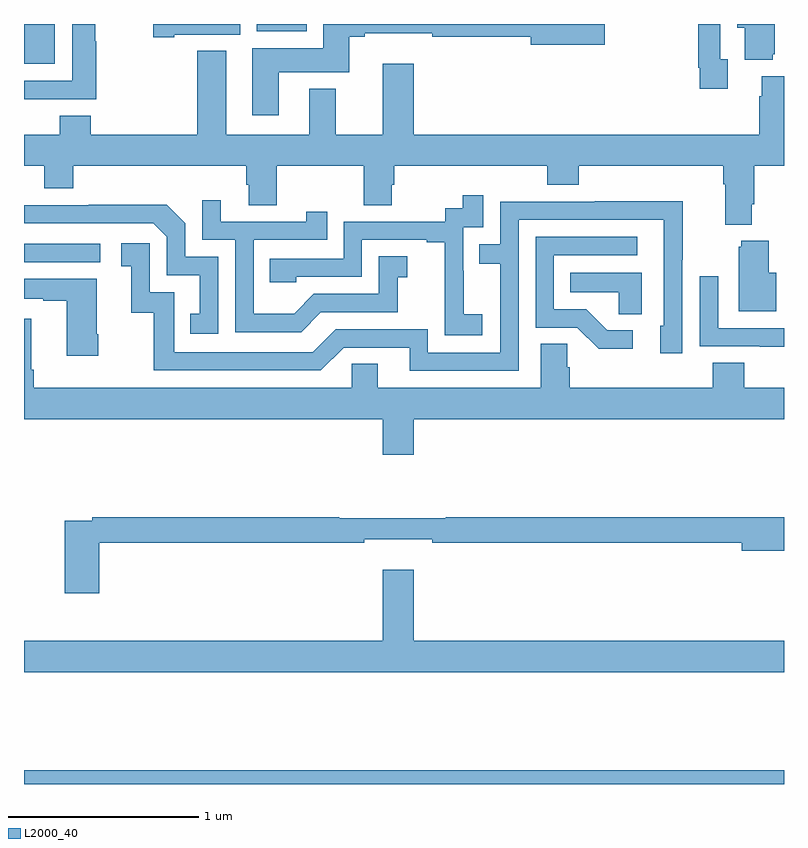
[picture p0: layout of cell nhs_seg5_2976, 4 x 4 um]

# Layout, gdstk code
import gdstk
lib = gdstk.Library(unit=1e-6, precision=1e-09)
def R(c, l, rs):  # rectangles x0, y0, x1, y1
    for r in rs: c.add(gdstk.rectangle(r[:2], r[2:], *l))
def P(c, l, *ps):  # polygons
    for p in ps: c.add(gdstk.Polygon(p, *l))
L2000_40 = (2000, 40)

nhs_seg5_2976 = lib.new_cell('nhs_seg5_2976')
R(nhs_seg5_2976, L2000_40, [(283,894.799,287,894.872), (283,897.546,283.402,897.642), (283,898.589,283.162,898.799), (284.225,898.76,284.488,898.799)])
P(nhs_seg5_2976, L2000_40, [(286.705,898.614),(286.665,898.614),(286.665,898.799),(286.549,898.799),(286.549,898.57),(286.557,898.57),(286.557,898.458),(286.705,898.458)],
  [(286.94,898.641),(286.951,898.641),(286.951,898.799),(286.754,898.799),(286.754,898.778),(286.793,898.778),(286.793,898.61),(286.94,898.61)],
  [(284.341,898.544),(284.711,898.544),(284.711,898.732),(284.794,898.732),(284.794,898.751),(285.148,898.751),(285.148,898.732),(285.668,898.732),(285.668,898.69),(286.057,898.69),(286.057,898.799),(284.576,898.799),(284.576,898.672),(284.201,898.672),(284.201,898.32),(284.341,898.32)],
  [(283.792,898.742),(284.137,898.742),(284.137,898.799),(283.68,898.799),(283.68,898.73),(283.792,898.73)],
  [(283.379,898.707),(283.374,898.707),(283.374,898.799),(283.253,898.799),(283.253,898.5),(283,898.5),(283,898.403),(283.379,898.403)],
  [(283.187,898.216),(283,898.216),(283,898.052),(283.106,898.052),(283.106,897.935),(283.259,897.935),(283.259,898.052),(284.171,898.052),(284.171,897.954),(284.183,897.954),(284.183,897.844),(284.331,897.844),(284.331,898.052),(284.788,898.052),(284.788,897.844),(284.935,897.844),(284.935,897.954),(284.948,897.954),(284.948,898.052),(285.755,898.052),(285.755,897.953),(285.92,897.953),(285.92,898.052),(286.679,898.052),(286.679,897.956),(286.691,897.956),(286.691,897.743),(286.831,897.743),(286.831,897.85),(286.844,897.85),(286.844,898.052),(287,898.052),(287,898.525),(286.883,898.525),(286.883,898.418),(286.871,898.418),(286.871,898.216),(285.052,898.216),(285.052,898.591),(284.888,898.591),(284.888,898.216),(284.641,898.216),(284.641,898.459),(284.501,898.459),(284.501,898.216),(284.065,898.216),(284.065,898.657),(283.913,898.657),(283.913,898.216),(283.352,898.216),(283.352,898.315),(283.187,898.315)],
  [(285.412,897.271),(285.314,897.271),(285.314,897.5),(285.312,897.5),(285.312,897.729),(285.417,897.729),(285.417,897.898),(285.309,897.898),(285.309,897.828),(285.216,897.828),(285.216,897.759),(284.682,897.759),(284.682,897.564),(284.293,897.564),(284.293,897.441),(284.433,897.441),(284.433,897.468),(284.778,897.468),(284.778,897.663),(285.119,897.663),(285.119,897.651),(285.215,897.651),(285.215,897.367),(285.214,897.367),(285.214,897.161),(285.412,897.161)],
  [(284.563,897.282),(284.967,897.282),(284.967,897.467),(285.016,897.467),(285.016,897.577),(284.868,897.577),(284.868,897.378),(284.526,897.378),(284.422,897.274),(284.208,897.274),(284.208,897.663),(284.597,897.663),(284.597,897.811),(284.486,897.811),(284.486,897.759),(284.035,897.759),(284.035,897.871),(283.938,897.871),(283.938,897.663),(284.112,897.663),(284.112,897.177),(284.458,897.177)],
  [(285.603,897.768),(286.368,897.768),(286.368,897.21),(286.349,897.21),(286.349,897.066),(286.464,897.066),(286.464,897.559),(286.467,897.559),(286.467,897.866),(286.003,897.866),(286.003,897.864),(285.507,897.864),(285.507,897.639),(285.397,897.639),(285.397,897.538),(285.507,897.538),(285.507,897.069),(285.126,897.069),(285.126,897.192),(284.64,897.192),(284.52,897.072),(283.791,897.072),(283.791,897.387),(283.662,897.387),(283.662,897.646),(283.512,897.646),(283.512,897.525),(283.565,897.525),(283.565,897.279),(283.683,897.279),(283.683,896.976),(284.562,896.976),(284.682,897.096),(285.029,897.096),(285.029,896.973),(285.603,896.973)],
  [(284.022,897.573),(283.848,897.573),(283.848,897.75),(283.75,897.848),(283.342,897.848),(283.342,897.846),(283,897.846),(283,897.75),(283.68,897.75),(283.752,897.678),(283.752,897.477),(283.925,897.477),(283.925,897.273),(283.876,897.273),(283.876,897.168),(284.022,897.168)],
  [(286.204,897.186),(286.069,897.186),(285.958,897.297),(285.789,897.297),(285.789,897.582),(286.228,897.582),(286.228,897.678),(285.693,897.678),(285.693,897.201),(285.912,897.201),(286.025,897.089),(286.204,897.089)],
  [(286.96,897.49),(286.921,897.49),(286.921,897.658),(286.775,897.658),(286.775,897.627),(286.763,897.627),(286.763,897.287),(286.96,897.287)],
  [(286.252,897.49),(285.874,897.49),(285.874,897.386),(286.131,897.386),(286.131,897.271),(286.252,897.271)],
  [(287,897.198),(286.653,897.198),(286.653,897.472),(286.557,897.472),(286.557,897.102),(286.873,897.102),(286.873,897.101),(287,897.101)],
  [(283.392,897.166),(283.384,897.166),(283.384,897.457),(283,897.457),(283,897.353),(283.1,897.353),(283.1,897.343),(283.226,897.343),(283.226,897.054),(283.392,897.054)],
  [(285.052,896.72),(287,896.72),(287,896.884),(286.79,896.884),(286.79,897.017),(286.625,897.017),(286.625,896.884),(285.872,896.884),(285.872,896.993),(285.858,896.993),(285.858,897.116),(285.719,897.116),(285.719,896.884),(284.863,896.884),(284.863,897.011),(284.724,897.011),(284.724,896.884),(283.052,896.884),(283.052,896.98),(283.039,896.98),(283.039,897.247),(283,897.247),(283,896.72),(284.888,896.72),(284.888,896.532),(285.052,896.532)],
  [(283.397,896.068),(284.792,896.068),(284.792,896.087),(285.148,896.087),(285.148,896.068),(286.778,896.068),(286.778,896.026),(287,896.026),(287,896.204),(285.221,896.204),(285.221,896.197),(284.66,896.197),(284.66,896.204),(283.36,896.204),(283.36,896.184),(283.214,896.184),(283.214,895.803),(283.397,895.803)],
  [(287,895.552),(285.052,895.552),(285.052,895.927),(284.888,895.927),(284.888,895.552),(283,895.552),(283,895.388),(287,895.388)])

lib.write_gds('nhs_seg5_2976.gds')
